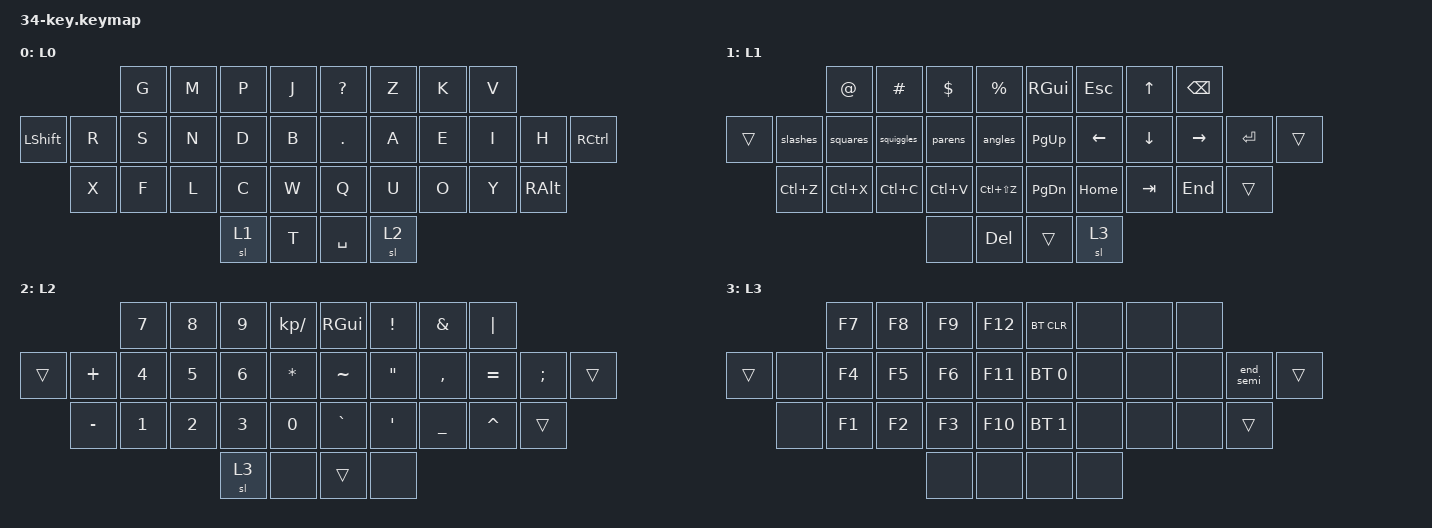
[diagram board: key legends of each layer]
#include <behaviors.dtsi>
#include <dt-bindings/zmk/keys.h>
#include <dt-bindings/zmk/bt.h>
#include <dt-bindings/zmk/outputs.h>

#define U_PST &kp LC(V)
#define U_CPY &kp LC(C)
#define U_CUT &kp LC(X)
#define U_UND &kp LC(Z)
#define U_RDO &kp LC(LS(Z))

#define L0 0
#define L1 1
#define L2 2
#define L3 3

/*


                                       L0

            ╭─────┬─────┬─────┬─────╮      ╭─────┬─────┬─────┬─────╮
            │  G  │  M  │  P  │  J  │      │  ?  │  Z  │  K  │  V  │ 
╭─────┬─────┼─────┼─────┼─────┼─────┤      ├─────┼─────┼─────┼─────┼─────┬─────╮
│ shft│  R  │  S  │  N  │  D  │  B  │      │  .  │  A  │  E  │  I  │  H  │ ctrl│
╰─────┼─────┼─────┼─────┼─────┼─────┤      ├─────┼─────┼─────┼─────┼─────┼─────╯
      │  X  │  F  │  L  │  C  │  W  │      │  Q  │  U  │  O  │  Y  │ alt │
      ╰─────┴─────┴─────┼─────┼─────┤      ├─────┼─────┼─────┴─────┴─────╯
                        │  L1 │  T  │      │ spc │  L2 │
                        ╰─────┴─────╯      ╰─────┴─────╯

                                       L1

            ╭─────┬─────┬─────┬─────╮      ╭─────┬─────┬─────┬─────╮
            │  @  │  #  │  $  │  %  │      │ gui │ esc │  ↑  │ bspc│ 
╭─────┬─────┼─────┼─────┼─────┼─────┤      ├─────┼─────┼─────┼─────┼─────┬─────╮
│ shft│ / \ │ [ ] │ { } │ ( ) │ < > │      │ pgup│  ←  │  ↓  │  →  │ ret │ ctrl│
╰─────┼─────┼─────┼─────┼─────┼─────┤      ├─────┼─────┼─────┼─────┼─────┼─────╯
      │ und │ cut │ cpy │ pst │ rdo │      │ pgdn│ home│ tab │ end │ alt │
      ╰─────┴─────┴─────┼─────┼─────┤      ├─────┼─────┼─────┴─────┴─────╯
                        │ L3  │ del │      │ spc │  L3 │
                        ╰─────┴─────╯      ╰─────┴─────╯

                                       L2

            ╭─────┬─────┬─────┬─────╮      ╭─────┬─────┬─────┬─────╮
            │  7  │  8  │  9  │  /  │      │ gui │  !  │  &  │  │  │ 
╭─────┬─────┼─────┼─────┼─────┼─────┤      ├─────┼─────┼─────┼─────┼─────┬─────╮
│ shft│  +  │  4  │  5  │  6  │  *  │      │  ~  │  "  │  ,  │  =  │  ;  │ ctrl│
╰─────┼─────┼─────┼─────┼─────┼─────┤      ├─────┼─────┼─────┼─────┼─────┼─────╯
      │  -  │  1  │  2  │  3  │  0  │      │  `  │  '  │  _  │  ^  │ alt │
      ╰─────┴─────┴─────┼─────┼─────┤      ├─────┼─────┼─────┴─────┴─────╯
                        │ L3  │     │      │ spc │  L3 │
                        ╰─────┴─────╯      ╰─────┴─────╯

                                       L3

            ╭─────┬─────┬─────┬─────╮      ╭─────┬─────┬─────┬─────╮
            │ F7  │ F8  │ F9  │ F12 │      │ btc │     │     │     │ 
╭─────┬─────┼─────┼─────┼─────┼─────┤      ├─────┼─────┼─────┼─────┼─────┬─────╮
│     │     │ F4  │ F5  │ F6  │ F11 │      │ bt1 │     │     │     │     │     │
╰─────┼─────┼─────┼─────┼─────┼─────┤      ├─────┼─────┼─────┼─────┼─────┼─────╯
      │     │ F1  │ F2  │ F3  │ F10 │      │ bt2 │     │     │     │     │
      ╰─────┴─────┴─────┼─────┼─────┤      ├─────┼─────┼─────┴─────┴─────╯
                        │     │     │      │     │     │
                        ╰─────┴─────╯      ╰─────┴─────╯
*/
/ {
        keymap {
                compatible = "zmk,keymap";
                L0 {
                            label = "L0";
                            bindings = <
/*                                         ╭───────────────────┬───────────────────┬───────────────────┬───────────────────╮        ╭───────────────────┬───────────────────┬───────────────────┬───────────────────╮                                         */
                                                  &kp G                &kp M                &kp P              &kp J                      &kp QUESTION        &kp Z                &kp K               &kp V
/* ╭───────────────────┬───────────────────┼───────────────────┼───────────────────┼───────────────────┼───────────────────┤        ├───────────────────┼───────────────────┼───────────────────┼───────────────────┼───────────────────┬───────────────────╮ */
          &kp LSHFT            &kp R              &kp S                &kp N                &kp D              &kp B                      &kp DOT             &kp A                &kp E               &kp I               &kp H           &kp RCTRL
/* ╰───────────────────┼───────────────────┼───────────────────┼───────────────────┼───────────────────┼───────────────────┤        ├───────────────────┼───────────────────┼───────────────────┼───────────────────┼───────────────────┼───────────────────╯ */
                               &kp X              &kp F                &kp L                &kp C              &kp W                      &kp Q               &kp U                &kp O               &kp Y              &kp RALT
/*                     ╰───────────────────┴───────────────────┴───────────────────┼───────────────────┼───────────────────┤        ├───────────────────┼───────────────────┼───────────────────┴───────────────────┴───────────────────╯                     */
                                                                                            &sl L1             &kp T                   &kp SPACE            &sl L2       
/*                                                                                 ╰───────────────────┴───────────────────╯        ╰───────────────────┴───────────────────╯                                                             */
                             >;
                     };
                     L1 {
                             label = "L1";
                             bindings = <
/*                                         ╭───────────────────┬───────────────────┬───────────────────┬───────────────────╮        ╭───────────────────┬───────────────────┬───────────────────┬───────────────────╮                                         */
                                                &kp AT               &kp HASH           &kp DOLLAR           &kp PERCENT                 &kp RGUI            &kp ESC              &kp UP             &kp BSPC
/* ╭───────────────────┬───────────────────┼───────────────────┼───────────────────┼───────────────────┼───────────────────┤        ├───────────────────┼───────────────────┼───────────────────┼───────────────────┼───────────────────┬───────────────────╮ */
          &trans           &slashes            &squares             &squiggles          &parens              &angles                     &kp PG_UP           &kp LEFT            &kp DOWN           &kp RIGHT              &kp RET             &trans
/* ╰───────────────────┼───────────────────┼───────────────────┼───────────────────┼───────────────────┼───────────────────┤        ├───────────────────┼───────────────────┼───────────────────┼───────────────────┼───────────────────┼───────────────────╯ */
                             U_UND                U_CUT                 U_CPY             U_PST                U_RDO                      &kp PG_DN            &kp HOME           &kp TAB           &kp END                &trans
/*                     ╰───────────────────┴───────────────────┴───────────────────┼───────────────────┼───────────────────┤        ├───────────────────┼───────────────────┼───────────────────┴───────────────────┴───────────────────╯                     */
                                                                                           &none              &kp DEL                      &trans              &sl L3           
/*                                                                                 ╰───────────────────┴───────────────────╯        ╰───────────────────┴───────────────────╯                                                             */
                             >;
                     };

                     L2 {
                             label = "L2";
                             bindings = <
/*                                         ╭───────────────────┬───────────────────┬───────────────────┬───────────────────╮        ╭───────────────────┬───────────────────┬───────────────────┬───────────────────╮                                         */
                                                  &kp N7              &kp N8               &kp N9           &kp KP_SLASH                  &kp RGUI            &kp EXCL             &kp AMPS            &kp PIPE
/* ╭───────────────────┬───────────────────┼───────────────────┼───────────────────┼───────────────────┼───────────────────┤        ├───────────────────┼───────────────────┼───────────────────┼───────────────────┼───────────────────┬───────────────────╮ */
         &trans               &kp PLUS            &kp N4              &kp N5               &kp N6           &kp STAR                    &kp TILDE           &kp DQT              &kp COMMA            &kp EQUAL            &kp SEMI               &trans
/* ╰───────────────────┼───────────────────┼───────────────────┼───────────────────┼───────────────────┼───────────────────┤        ├───────────────────┼───────────────────┼───────────────────┼───────────────────┼───────────────────┼───────────────────╯ */
                              &kp MINUS           &kp N1              &kp N2               &kp N3            &kp N0                      &kp GRAVE           &kp SQT              &kp UNDER          &kp CARET             &trans
/*                     ╰───────────────────┴───────────────────┴───────────────────┼───────────────────┼───────────────────┤        ├───────────────────┼───────────────────┼───────────────────┴───────────────────┴───────────────────╯                     */
                                                                                           &sl L3            &none                        &trans            &none              
/*                                                                                 ╰───────────────────┴───────────────────╯        ╰───────────────────┴───────────────────╯                                                             */
                             >;
                     };                     
                     
                     L3 {
                             label = "L3";
                             bindings = <
/*                                         ╭───────────────────┬───────────────────┬───────────────────┬───────────────────╮        ╭───────────────────┬───────────────────┬───────────────────┬───────────────────╮                                         */
                                                 &kp F7              &kp F8               &kp F9              &kp F12                  &bt BT_CLR               &none                 &none              &none                      
/* ╭───────────────────┬───────────────────┼───────────────────┼───────────────────┼───────────────────┼───────────────────┤        ├───────────────────┼───────────────────┼───────────────────┼───────────────────┼───────────────────┬───────────────────╮ */
          &trans              &none              &kp F4              &kp F5               &kp F6              &kp F11                  &bt BT_SEL 0             &none                 &none              &none             &end_semi              &trans
/* ╰───────────────────┼───────────────────┼───────────────────┼───────────────────┼───────────────────┼───────────────────┤        ├───────────────────┼───────────────────┼───────────────────┼───────────────────┼───────────────────┼───────────────────╯ */
                              &none              &kp F1              &kp F2               &kp F3              &kp F10                  &bt BT_SEL 1             &none                 &none              &none              &trans
/*                     ╰───────────────────┴───────────────────┴───────────────────┼───────────────────┼───────────────────┤        ├───────────────────┼───────────────────┼───────────────────┴───────────────────┴───────────────────╯                     */
                                                                                           &none               &none                        &none              &none              
/*                                                                                 ╰───────────────────┴───────────────────╯        ╰───────────────────┴───────────────────╯                                                             */
                             >;
                     };
      };
      behaviors {
        slashes: slashes {
            compatible = "zmk,behavior-mod-morph";
            label = "slashes";
            #binding-cells = <0>;
            bindings = <&kp KP_SLASH>, <&kp BACKSLASH>;
            mods = <(MOD_LSFT|MOD_RSFT)>;
        };
        squares: squares {
            compatible = "zmk,behavior-mod-morph";
            label = "squares";
            #binding-cells = <0>;
            bindings = <&kp LBKT>, <&kp RBKT>;
            mods = <(MOD_LSFT|MOD_RSFT)>;
        };
        squiggles: squiggles {
            compatible = "zmk,behavior-mod-morph";
            label = "squiggles";
            #binding-cells = <0>;
            bindings = <&kp LBRC>, <&kp RBRC>;
            mods = <(MOD_LSFT|MOD_RSFT)>;
        };
        parens: parens {
            compatible = "zmk,behavior-mod-morph";
            label = "parens";
            #binding-cells = <0>;
            bindings = <&kp LPAR>, <&kp RPAR>;
            mods = <(MOD_LSFT|MOD_RSFT)>;
        };
        angles: angles {
            compatible = "zmk,behavior-mod-morph";
            label = "angles";
            #binding-cells = <0>;
            bindings = <&kp KP_SLASH>, <&kp BACKSLASH>;
            mods = <(MOD_LSFT|MOD_RSFT)>;
        };
        macros {
            // 0 params macro
            end_semi: end_semi {
                // ...
                compatible = "zmk,behavior-macro";
                #binding-cells = <0>; // Must be 0
                wait-ms = <40>;
                tap-ms = <40>;
                bindings = <&kp END &kp SEMI &kp RET>;
            };
        };
    };
};
